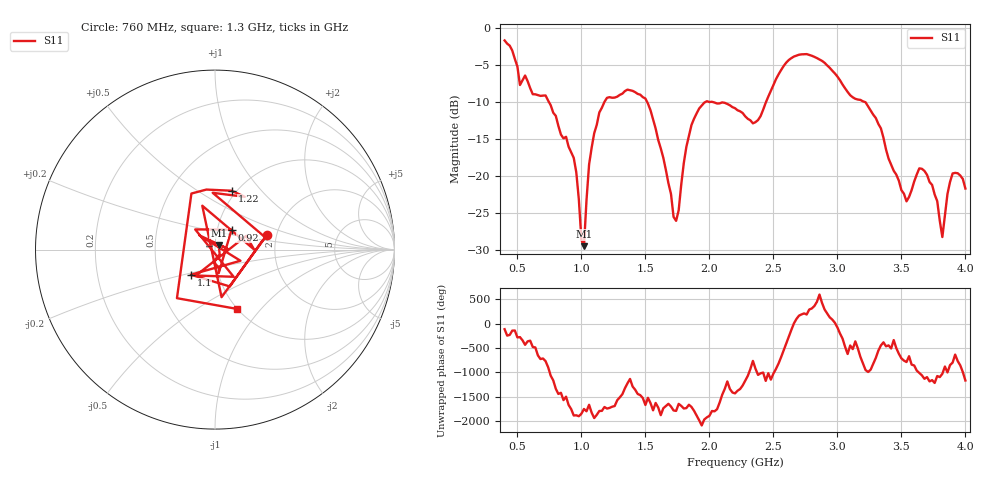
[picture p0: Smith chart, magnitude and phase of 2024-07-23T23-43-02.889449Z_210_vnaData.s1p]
!Created with skrf (http://scikit-rf.org).
# Hz S RI R 50.0
!freq ReS11 ImS11
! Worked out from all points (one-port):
!   181 points, 400 MHz to 4 GHz, reference 50 ohm
!   lowest |S11| = -29.5 dB at 1.02 GHz (marker M1), VSWR 1.07, Z = 52 + j2.72 ohm
!   |S11| at or under -10 dB: 746.2 MHz to 1.18 GHz (433.4 MHz wide, 45 % of centre); 1.514 GHz to 1.969 GHz (455.1 MHz wide, 26.1 % of centre); 3.215 GHz to end of sweep (the widest 3 of 5)
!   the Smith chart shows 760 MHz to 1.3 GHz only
!   S11 on the Smith chart (normalised r, x): 760 MHz: 1.78, +0.32; 920 MHz: 1.17, +0.27; 1.1 GHz: 0.74, -0.21; 1.22 GHz: 0.95, +0.71; 1.3 GHz: 1.00, -0.76
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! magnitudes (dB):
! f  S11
! 400 MHz  -1.7
! 520 MHz  -7.7
! 760 MHz  -10.4
! 860 MHz  -14.9
! 920 MHz  -16.8
! 960 MHz  -19.5
! 1 GHz  -28.7
! 1.02 GHz  -29.5
! 1.06 GHz  -18.5
! 1.1 GHz  -14.2
! 1.22 GHz  -9.3
! 1.3 GHz  -9.0
! 1.5 GHz  -9.5
! 1.72 GHz  -25.6
! 1.76 GHz  -24.7
! 1.82 GHz  -16.1
! 1.92 GHz  -10.9
! 2.2 GHz  -10.8
! 2.38 GHz  -12.4
! 2.66 GHz  -3.8
! 3.1 GHz  -9.1
! 3.3 GHz  -12.2
! 3.56 GHz  -22.9
! 3.68 GHz  -19.3
! 3.78 GHz  -23.4
! 3.82 GHz  -28.3
! 3.9 GHz  -19.7
! 4 GHz  -21.7
